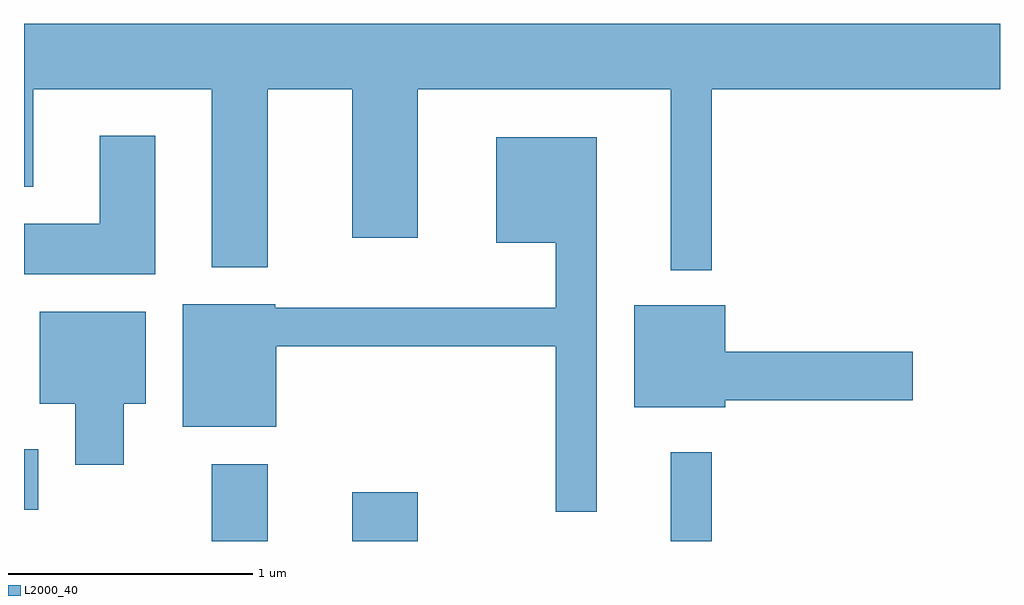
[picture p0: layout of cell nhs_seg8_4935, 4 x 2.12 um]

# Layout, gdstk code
import gdstk
lib = gdstk.Library(unit=1e-6, precision=1e-09)
def R(c, l, rs):  # rectangles x0, y0, x1, y1
    for r in rs: c.add(gdstk.rectangle(r[:2], r[2:], *l))
def P(c, l, *ps):  # polygons
    for p in ps: c.add(gdstk.Polygon(p, *l))
L2000_40 = (2000, 40)

nhs_seg8_4935 = lib.new_cell('nhs_seg8_4935')
R(nhs_seg8_4935, L2000_40, [(334.381,1832.342,334.609,1832.659), (334.956,1832.342,335.224,1832.544), (336.261,1832.342,336.429,1832.708), (333.611,1832.471,333.669,1832.719)])
P(nhs_seg8_4935, L2000_40, [(336.429,1834.196),(337.611,1834.196),(337.611,1834.464),(333.611,1834.464),(333.611,1833.796),(333.649,1833.796),(333.649,1834.196),(334.381,1834.196),(334.381,1833.466),(334.609,1833.466),(334.609,1834.196),(334.956,1834.196),(334.956,1833.586),(335.224,1833.586),(335.224,1834.196),(336.261,1834.196),(336.261,1833.453),(336.429,1833.453)],
  [(334.149,1834.004),(333.921,1834.004),(333.921,1833.644),(333.611,1833.644),(333.611,1833.436),(334.149,1833.436)],
  [(335.959,1833.999),(335.546,1833.999),(335.546,1833.566),(335.791,1833.566),(335.791,1833.299),(334.64,1833.299),(334.64,1833.314),(334.261,1833.314),(334.261,1832.811),(334.644,1832.811),(334.644,1833.141),(335.791,1833.141),(335.791,1832.463),(335.959,1832.463)],
  [(336.484,1832.921),(337.254,1832.921),(337.254,1833.119),(336.484,1833.119),(336.484,1833.309),(336.111,1833.309),(336.111,1832.891),(336.484,1832.891)],
  [(334.019,1832.906),(334.109,1832.906),(334.109,1833.284),(333.676,1833.284),(333.676,1832.906),(333.821,1832.906),(333.821,1832.656),(334.019,1832.656)])

lib.write_gds('nhs_seg8_4935.gds')
